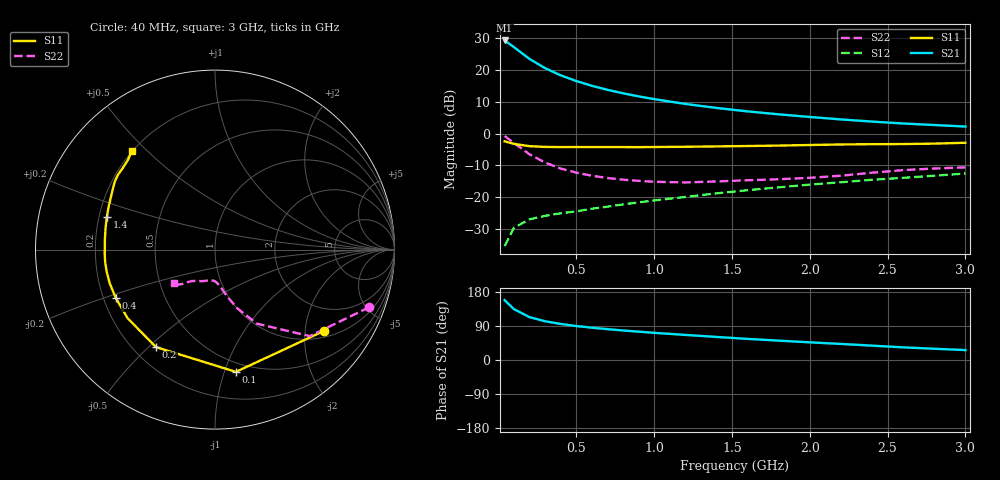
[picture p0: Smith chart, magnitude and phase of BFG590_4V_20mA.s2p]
! Filename:  BFG590B.S2P  Version:  4.0
! Philips part #: BFG590  Date: Jun 1994
! Bias condition: Vce=4V; Ic=20mA
#  MHz  S  MA  R  50
! Freq  S11  S21  S12  S22  !GUM [dB]
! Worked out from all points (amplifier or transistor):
!   21 points, 40 MHz to 3 GHz, reference 50 ohm
!   highest |S21| = 29.3 dB at 40 MHz (marker M1)
!   |S21| within 3 dB of that: start of sweep to 124.3 MHz
!   unconditionally stable (mu >= 1): 867.1 MHz to 2.37 GHz
!   at 300 MHz: K = 0.55, MSG = 23.2 dB, |S12| = -25.8 dB
!   at 1 GHz: K = 1.04, MAG = 14.7 dB, |S12| = -21.0 dB
!   at 3 GHz: K = 0.88, MSG = 7.4 dB, |S12| = -12.5 dB
!   S11 on the Smith chart (normalised r, x): 40 MHz: 1.18, -2.51; 100 MHz: 0.42, -1.09; 200 MHz: 0.29, -0.53; 400 MHz: 0.25, -0.22; 1.4 GHz: 0.23, +0.14; 3 GHz: 0.20, +0.45
40  0.757 -36.8  29.22 157.9  0.017 72.4  0.917 -20.5
100  0.691 -80.3  22.94 134.2  0.033 54.9  0.715 -42.4
200  0.635 -121.2  14.98 113.1  0.045 44.1  0.474 -60.5
300  0.619 -141.9  10.71 102.2  0.051 42.5  0.351 -69.1
400  0.615 -154.1  8.269 95.1  0.056 43.6  0.283 -74.2
500  0.616 -162.4  6.73 89.7  0.06 45.7  0.244 -77.8
600  0.616 -168.5  5.663 85.2  0.066 48.0  0.218 -80.6
700  0.616 -173.4  4.895 81.4  0.071 50.2  0.201 -83.2
800  0.615 -177.8  4.313 77.9  0.077 52.2  0.189 -85.6
900  0.614 178.4  3.86 74.8  0.083 53.8  0.181 -88.3
1000  0.616 174.9  3.495 71.7  0.089 55.2  0.175 -91.2
1200  0.622 168.4  2.935 66.2  0.101 57.2  0.171 -97.8
1400  0.63 163.0  2.54 60.9  0.115 58.7  0.177 -103.8
1600  0.639 158.0  2.241 55.7  0.129 59.4  0.185 -108.9
1800  0.649 153.4  2.013 51.1  0.143 59.9  0.192 -113.8
2000  0.663 149.1  1.83 46.6  0.158 60.0  0.202 -120.1
2200  0.676 145.4  1.674 42.4  0.172 59.8  0.218 -126.5
2400  0.683 142.1  1.548 37.9  0.188 58.9  0.243 -131.0
2600  0.686 138.4  1.445 33.4  0.202 57.6  0.267 -133.9
2800  0.697 134.0  1.367 29.7  0.218 56.7  0.283 -136.5
3000  0.719 130.1  1.293 26.2  0.236 55.3  0.295 -140.6
